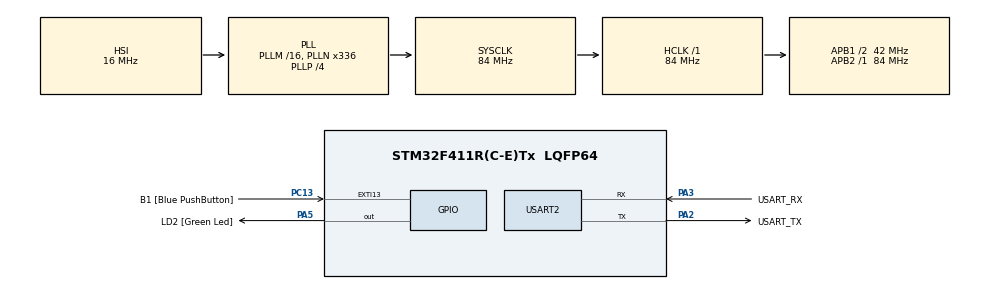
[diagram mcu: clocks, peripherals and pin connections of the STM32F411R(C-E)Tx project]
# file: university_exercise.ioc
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Mcu.Family=STM32F4
RCC.CortexFreq_Value=84000000
FREERTOS.Tasks01=defaultTask,0,128,StartDefaultTask,Default,NULL,Dynamic,NULL,NULL
PC13-ANTI_TAMP.GPIO_Label=B1 [Blue PushButton]
PA14.GPIO_Label=TCK
PH1\ -\ OSC_OUT.Mode=HSE-External-Oscillator
RCC.APB1CLKDivider=RCC_HCLK_DIV2
PC14-OSC32_IN.Signal=RCC_OSC32_IN
RCC.SYSCLKSource=RCC_SYSCLKSOURCE_PLLCLK
ProjectManager.StackSize=0x400
PA13.Signal=SYS_JTMS-SWDIO
PA3.Mode=Asynchronous
PH0\ -\ OSC_IN.Mode=HSE-External-Oscillator
PH0\ -\ OSC_IN.Signal=RCC_OSC_IN
ProjectManager.TargetToolchain=STM32CubeIDE
RCC.HCLKFreq_Value=84000000
RCC.APB2TimFreq_Value=84000000
RCC.LSE_VALUE=32768
PC15-OSC32_OUT.Signal=RCC_OSC32_OUT
RCC.AHBFreq_Value=84000000
PA5.Signal=GPIO_Output
RCC.HSE_VALUE=8000000
PH1\ -\ OSC_OUT.Signal=RCC_OSC_OUT
board=NUCLEO-F411RE
PC13-ANTI_TAMP.Signal=GPXTI13
RCC.VCOOutputFreq_Value=336000000
RCC.APB2Freq_Value=84000000
VP_FREERTOS_VS_CMSIS_V1.Mode=CMSIS_V1
Mcu.Name=STM32F411R(C-E)Tx
PA2.Signal=USART2_TX
PA13.GPIO_Label=TMS
RCC.FLatency-AdvancedSettings=FLASH_LATENCY_2
RCC.48MHZClocksFreq_Value=84000000
PB3.Signal=SYS_JTDO-SWO
RCC.SYSCLKFreq_VALUE=84000000
Mcu.Package=LQFP64
NVIC.TimeBase=TIM4_IRQn
PA5.GPIO_Label=LD2 [Green Led]
USART2.VirtualMode=VM_ASYNC
PC13-ANTI_TAMP.GPIO_ModeDefaultEXTI=GPIO_MODE_IT_FALLING
PA2.GPIO_Label=USART_TX
NVIC.TimeBaseIP=TIM4
PA14.Signal=SYS_JTCK-SWCLK
ProjectManager.HeapSize=0x200
VP_SYS_VS_tim4.Mode=TIM4
RCC.HSI_VALUE=16000000
RCC.PLLP=RCC_PLLP_DIV4
NVIC.PriorityGroup=NVIC_PRIORITYGROUP_4
RCC.PLLN=336
RCC.APB1TimFreq_Value=84000000
PA2.Mode=Asynchronous
NVIC.TIM4_IRQn=true\:0\:0\:false\:false\:true\:false\:false\:true
RCC.APB1Freq_Value=42000000
PA3.GPIO_Label=USART_RX
PA3.Signal=USART2_RX
PB3.GPIO_Label=SWO

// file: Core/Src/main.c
/* USER CODE BEGIN Header */
/**
  ******************************************************************************
  * @file           : main.c
  * @brief          : Main program body
  ******************************************************************************
  * @attention
  *
  * <h2><center>&copy; Copyright (c) 2022 STMicroelectronics.
  * All rights reserved.</center></h2>
  *
  * This software component is licensed by ST under BSD 3-Clause license,
  * the "License"; You may not use this file except in compliance with the
  * License. You may obtain a copy of the License at:
  *                        opensource.org/licenses/BSD-3-Clause
  *
  ******************************************************************************
  */
/* USER CODE END Header */
#include "main.h"
#include "cmsis_os.h"

/* USER CODE BEGIN Includes */
#include "string.h"
#include "stdlib.h"
#include "FreeRTOS.h"
#include "task.h"
#include "timers.h"
#include <customqueue.h>
#include "semphr.h"
#include "event_groups.h"
#include "customqueue.h"
/* USER CODE END Includes */

UART_HandleTypeDef huart2;

/* USER CODE BEGIN PV */
SemaphoreHandle_t SimpleMutex;
SemaphoreHandle_t BinSemaphore;

TaskHandle_t HPT_Handler;
TaskHandle_t MPT_Handler;
TaskHandle_t LPT_Handler;
/* USER CODE END PV */

void SystemClock_Config(void);
static void MX_GPIO_Init(void);
static void MX_USART2_UART_Init(void);
void StartDefaultTask(void const * argument);

/* USER CODE BEGIN PFP */
void HPT_Task (void *argument);
void MPT_Task (void *argument);
void LPT_Task (void *argument);
queueTaskHandle TaskHandleList;
/* USER CODE END PFP */

UBaseType_t save_prio;
TaskHandle_t lasthandle;

/* USER CODE BEGIN 0 */
void mySemaphoreTake(SemaphoreHandle_t xSemaphore, TaskHandle_t taskHandle, queueTaskHandle *queue){
	taskENTER_CRITICAL();
	while(taskHandle == NULL && queue == NULL){
	}

	//save_prio = uxTaskPriorityGet(taskHandle);
	lasthandle = xTaskGetCurrentTaskHandle();
	if(enqueue(queue, taskHandle) != ARRAY_IS_FULL){
		vTaskPrioritySet(queue->arr[queue->front], 4);
		taskEXIT_CRITICAL();
	}
	xSemaphoreTake(xSemaphore, portMAX_DELAY);

}

void mySemaphoreGive(SemaphoreHandle_t xSemaphore,  queueTaskHandle* queue){
	taskENTER_CRITICAL();
	static uint32_t init = 0;
	if(init == 0){
		xSemaphoreGive(xSemaphore);
		init = 1;
		return;
	}
	if(lasthandle == xTaskGetCurrentTaskHandle()){
		uint32_t prio;
		if(dequeue(queue) != ARRAY_IS_EMPTY){
			if(xTaskGetCurrentTaskHandle() == HPT_Handler) {
				prio = 3;
			}
			else prio = 1;
			vTaskPrioritySet(queue->arr[queue->front], prio);
		}
		taskEXIT_CRITICAL();
		xSemaphoreGive(xSemaphore);
	}
}

void print_function(char *str){

	HAL_Delay(5000);
	HAL_UART_Transmit(&huart2, (uint8_t *) str, strlen (str), HAL_MAX_DELAY);

}
/* USER CODE END 0 */

int main(void)
{

  /* MCU Configuration--------------------------------------------------------*/

  /* Reset of all peripherals, Initializes the Flash interface and the Systick. */
  HAL_Init();

  /* Configure the system clock */
  SystemClock_Config();

  /* USER CODE BEGIN SysInit */

  initqueue(&TaskHandleList);
  /* USER CODE END SysInit */

  /* Initialize all configured peripherals */
  MX_GPIO_Init();
  MX_USART2_UART_Init();

  xTaskCreate(HPT_Task, "HPT", 128, (void *)&TaskHandleList, 3, &HPT_Handler);
  xTaskCreate(MPT_Task, "MPT", 128, NULL, 2, &MPT_Handler);
  xTaskCreate(LPT_Task, "LPT", 128, (void *)&TaskHandleList, 1, &LPT_Handler);

  BinSemaphore = xSemaphoreCreateBinary();
  if (BinSemaphore != NULL)
  {
	  HAL_UART_Transmit(&huart2,(uint8_t *) "Semaphore Created\n\n", 19, 1000);
  }
  lasthandle = HPT_Handler;
  mySemaphoreGive(BinSemaphore, &TaskHandleList);
  /* USER CODE END RTOS_THREADS */

  /* Start scheduler */
  osKernelStart();

  /* We should never get here as control is now taken by the scheduler */
  /* Infinite loop */
  while (1)
  {

  }
}

void SystemClock_Config(void)
{
  RCC_OscInitTypeDef RCC_OscInitStruct = {0};
  RCC_ClkInitTypeDef RCC_ClkInitStruct = {0};

  /** Configure the main internal regulator output voltage
  */
  __HAL_RCC_PWR_CLK_ENABLE();
  __HAL_PWR_VOLTAGESCALING_CONFIG(PWR_REGULATOR_VOLTAGE_SCALE1);
  /** Initializes the RCC Oscillators according to the specified parameters
  * in the RCC_OscInitTypeDef structure.
  */
  RCC_OscInitStruct.OscillatorType = RCC_OSCILLATORTYPE_HSI;
  RCC_OscInitStruct.HSIState = RCC_HSI_ON;
  RCC_OscInitStruct.HSICalibrationValue = RCC_HSICALIBRATION_DEFAULT;
  RCC_OscInitStruct.PLL.PLLState = RCC_PLL_ON;
  RCC_OscInitStruct.PLL.PLLSource = RCC_PLLSOURCE_HSI;
  RCC_OscInitStruct.PLL.PLLM = 16;
  RCC_OscInitStruct.PLL.PLLN = 336;
  RCC_OscInitStruct.PLL.PLLP = RCC_PLLP_DIV4;
  RCC_OscInitStruct.PLL.PLLQ = 4;
  if (HAL_RCC_OscConfig(&RCC_OscInitStruct) != HAL_OK)
  {
    Error_Handler();
  }
  /** Initializes the CPU, AHB and APB buses clocks
  */
  RCC_ClkInitStruct.ClockType = RCC_CLOCKTYPE_HCLK|RCC_CLOCKTYPE_SYSCLK
                              |RCC_CLOCKTYPE_PCLK1|RCC_CLOCKTYPE_PCLK2;
  RCC_ClkInitStruct.SYSCLKSource = RCC_SYSCLKSOURCE_PLLCLK;
  RCC_ClkInitStruct.AHBCLKDivider = RCC_SYSCLK_DIV1;
  RCC_ClkInitStruct.APB1CLKDivider = RCC_HCLK_DIV2;
  RCC_ClkInitStruct.APB2CLKDivider = RCC_HCLK_DIV1;

  if (HAL_RCC_ClockConfig(&RCC_ClkInitStruct, FLASH_LATENCY_2) != HAL_OK)
  {
    Error_Handler();
  }
}

static void MX_USART2_UART_Init(void)
{

  huart2.Instance = USART2;
  huart2.Init.BaudRate = 115200;
  huart2.Init.WordLength = UART_WORDLENGTH_8B;
  huart2.Init.StopBits = UART_STOPBITS_1;
  huart2.Init.Parity = UART_PARITY_NONE;
  huart2.Init.Mode = UART_MODE_TX_RX;
  huart2.Init.HwFlowCtl = UART_HWCONTROL_NONE;
  huart2.Init.OverSampling = UART_OVERSAMPLING_16;
  if (HAL_UART_Init(&huart2) != HAL_OK)
  {
    Error_Handler();
  }

}

static void MX_GPIO_Init(void)
{
  GPIO_InitTypeDef GPIO_InitStruct = {0};

  /* GPIO Ports Clock Enable */
  __HAL_RCC_GPIOC_CLK_ENABLE();
  __HAL_RCC_GPIOH_CLK_ENABLE();
  __HAL_RCC_GPIOA_CLK_ENABLE();
  __HAL_RCC_GPIOB_CLK_ENABLE();

  /*Configure GPIO pin Output Level */
  HAL_GPIO_WritePin(LD2_GPIO_Port, LD2_Pin, GPIO_PIN_RESET);

  /*Configure GPIO pin : B1_Pin */
  GPIO_InitStruct.Pin = B1_Pin;
  GPIO_InitStruct.Mode = GPIO_MODE_IT_FALLING;
  GPIO_InitStruct.Pull = GPIO_NOPULL;
  HAL_GPIO_Init(B1_GPIO_Port, &GPIO_InitStruct);

  /*Configure GPIO pin : LD2_Pin */
  GPIO_InitStruct.Pin = LD2_Pin;
  GPIO_InitStruct.Mode = GPIO_MODE_OUTPUT_PP;
  GPIO_InitStruct.Pull = GPIO_NOPULL;
  GPIO_InitStruct.Speed = GPIO_SPEED_FREQ_LOW;
  HAL_GPIO_Init(LD2_GPIO_Port, &GPIO_InitStruct);

}

/* USER CODE BEGIN 4 */
void HPT_Task (void *argument)
{
	queueTaskHandle *queue = (queueTaskHandle *)argument;
	char *strtosend = "IN HPT=====Semaphore released\r\n";
	while (1)
	{
		char *str = "Entered HPT and About to take Semaphore\r\n";
		HAL_UART_Transmit(&huart2,(uint8_t *) str, strlen (str), HAL_MAX_DELAY);

		mySemaphoreTake(BinSemaphore, HPT_Handler, queue);
		print_function(strtosend);
		mySemaphoreGive(BinSemaphore, queue);

		char *str2 = "Leaving HPT\r\n\n";
		HAL_UART_Transmit(&huart2,(uint8_t *) str2, strlen (str2), HAL_MAX_DELAY);

		vTaskDelay(750);
	}
}

void MPT_Task (void *argument)
{
	while (1)
	{
		char *str = "IN MPT*********No Semaphore here\r\n\n";
		HAL_UART_Transmit(&huart2, (uint8_t *)str, strlen (str), HAL_MAX_DELAY);
		vTaskDelay(2000);
	}
}

void LPT_Task (void *argument)
{
	queueTaskHandle *queue = (queueTaskHandle *)argument;
	char *strtosend = "IN LPT.........Semaphore released\r\n";
	while (1)
	{
		char *str = "Entered LPT and About to take Semaphore\r\n";
		HAL_UART_Transmit(&huart2, (uint8_t *)str, strlen (str), HAL_MAX_DELAY);

		mySemaphoreTake(BinSemaphore, LPT_Handler, queue);
		print_function(strtosend);
		mySemaphoreGive(BinSemaphore, queue);

		char *str2 = "Leaving LPT\r\n\n";
		HAL_UART_Transmit(&huart2, (uint8_t *)str2, strlen (str2), HAL_MAX_DELAY);

		vTaskDelay(1000);
	}
}
/* USER CODE END 4 */

 /**
  * @brief  Period elapsed callback in non blocking mode
  * @note   This function is called  when TIM4 interrupt took place, inside
  * HAL_TIM_IRQHandler(). It makes a direct call to HAL_IncTick() to increment
  * a global variable "uwTick" used as application time base.
  * @param  htim : TIM handle
  * @retval None
  */
void HAL_TIM_PeriodElapsedCallback(TIM_HandleTypeDef *htim)
{
  if (htim->Instance == TIM4) {
    HAL_IncTick();
  }
}

void Error_Handler(void)
{
  __disable_irq();
  while (1)
  {
  }
}

/************************ (C) COPYRIGHT STMicroelectronics *****END OF FILE****/
